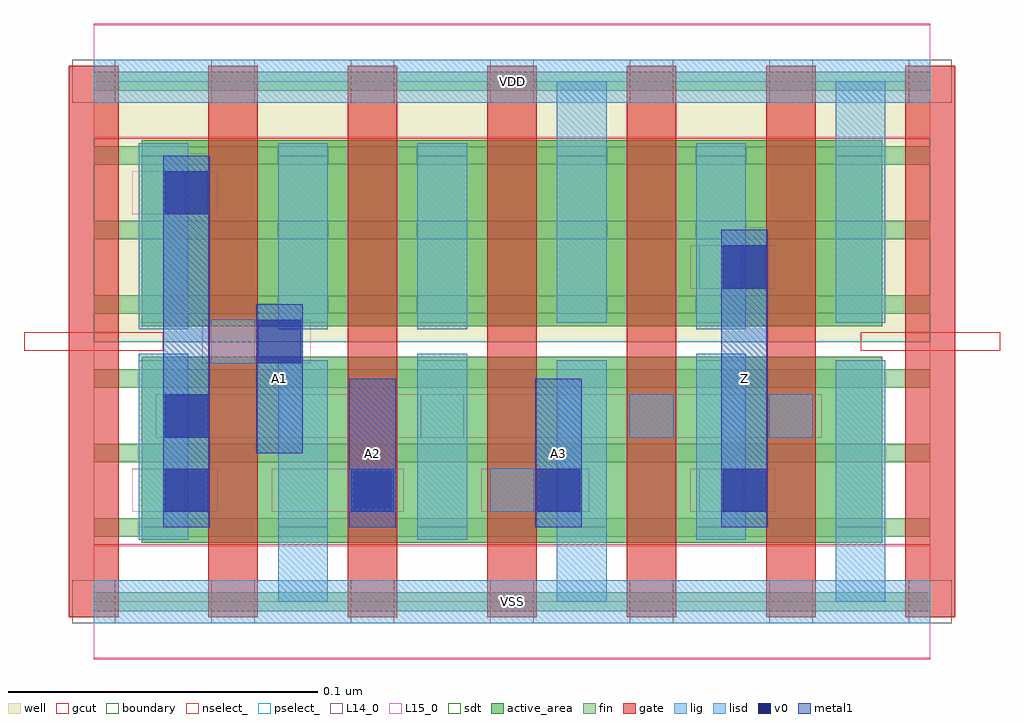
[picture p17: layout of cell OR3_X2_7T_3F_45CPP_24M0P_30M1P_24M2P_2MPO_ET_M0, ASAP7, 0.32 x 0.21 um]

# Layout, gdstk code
import gdstk
lib = gdstk.Library(unit=1e-6, precision=2.5e-10)
def R(c, l, rs):  # rectangles x0, y0, x1, y1
    for r in rs: c.add(gdstk.rectangle(r[:2], r[2:], *l))
def A(c, l, x, y, w, h, nx, ny, dx, dy):  # array of equal rectangles
    R(c, l, [(x+i*dx, y+j*dy, x+i*dx+w, y+j*dy+h) for i in range(nx) for j in range(ny)])
well = (1, 0)
fin = (2, 0)
gate = (7, 0)
gcut = (10, 0)
active_area = (11, 0)
nselect_ = (12, 0)
pselect_ = (13, 0)
L14_0 = (14, 0)
L15_0 = (15, 0)
lig = (16, 0)
lisd = (17, 0)
v0 = (18, 0)
metal1 = (19, 0)
sdt = (88, 0)
boundary = (100, 0)

or3_x2_7t_3f_45cpp_24m0p = lib.new_cell('OR3_X2_7T_3F_45CPP_24M0P_30M1P_24M2P_2MPO_ET_M0')
R(or3_x2_7t_3f_45cpp_24m0p, well, [(0,0.084,0.27,0.168)])
A(or3_x2_7t_3f_45cpp_24m0p, fin, 0, -0.003, 0.27, 0.006, 1, 8, 0, 0.024)
A(or3_x2_7t_3f_45cpp_24m0p, gate, -0.008, -0.005, 0.016, 0.178, 7, 1, 0.045, 0)
R(or3_x2_7t_3f_45cpp_24m0p, gcut, [(0,-0.0185,0.27,0.0185), (-0.0225,0.081,0.0225,0.087), (0.2475,0.081,0.2925,0.087), (0,0.1495,0.27,0.1865)])
A(or3_x2_7t_3f_45cpp_24m0p, active_area, 0.0155, 0.019, 0.059, 0.06, 3, 2, 0.045, 0.07)
R(or3_x2_7t_3f_45cpp_24m0p, active_area, [(0.1505,0.019,0.2545,0.079), (0.1505,0.089,0.2545,0.149)])
R(or3_x2_7t_3f_45cpp_24m0p, nselect_, [(0,0,0.27,0.084)])
R(or3_x2_7t_3f_45cpp_24m0p, pselect_, [(0,0.084,0.27,0.168)])
A(or3_x2_7t_3f_45cpp_24m0p, L14_0, -0.007, -0.007, 0.014, 0.014, 7, 2, 0.045, 0.168)
R(or3_x2_7t_3f_45cpp_24m0p, L14_0, [(0.0155,0.029,0.0295,0.043), (0.083,0.029,0.097,0.043), (0.128,0.029,0.142,0.043), (0.1955,0.029,0.2095,0.043), (0.1055,0.053,0.1195,0.067), (0.173,0.053,0.187,0.067), (0.218,0.053,0.232,0.067), (0.038,0.077,0.052,0.091), (0.1955,0.101,0.2095,0.115), (0.0155,0.125,0.0295,0.139)])
R(or3_x2_7t_3f_45cpp_24m0p, L15_0, [(0,-0.018,0.27,0.018), (0.0125,0.029,0.04,0.043), (0.0575,0.029,0.1,0.043), (0.125,0.029,0.16,0.043), (0.1925,0.029,0.22,0.043), (0.02,0.053,0.235,0.067), (0.035,0.077,0.07,0.091), (0.1925,0.101,0.22,0.115), (0.0125,0.125,0.04,0.139), (0,0.15,0.27,0.186)])
R(or3_x2_7t_3f_45cpp_24m0p, lig, [(0,-0.007,0.27,0.007), (0.083,0.029,0.097,0.043), (0.128,0.029,0.142,0.043), (0.173,0.053,0.187,0.067), (0.218,0.053,0.232,0.067), (0.038,0.077,0.052,0.091), (0,0.161,0.27,0.175)])
A(or3_x2_7t_3f_45cpp_24m0p, lisd, 0.0595, 0, 0.016, 0.078, 3, 1, 0.09, 0)
A(or3_x2_7t_3f_45cpp_24m0p, lisd, 0.0145, 0.02, 0.016, 0.06, 3, 1, 0.09, 0)
A(or3_x2_7t_3f_45cpp_24m0p, lisd, 0.0145, 0.088, 0.016, 0.06, 3, 1, 0.045, 0)
R(or3_x2_7t_3f_45cpp_24m0p, lisd, [(0.1945,0.088,0.2105,0.148), (0.1495,0.09,0.1655,0.168), (0.2395,0.09,0.2555,0.168)])
A(or3_x2_7t_3f_45cpp_24m0p, v0, 0.023, 0.029, 0.014, 0.014, 4, 1, 0.06, 0)
R(or3_x2_7t_3f_45cpp_24m0p, v0, [(0.023,0.053,0.037,0.067), (0.053,0.077,0.067,0.091), (0.203,0.101,0.217,0.115), (0.023,0.125,0.037,0.139)])
R(or3_x2_7t_3f_45cpp_24m0p, metal1, [(0.0225,0.024,0.0375,0.144), (0.0825,0.024,0.0975,0.072), (0.1425,0.024,0.1575,0.072), (0.2025,0.024,0.2175,0.12), (0.0525,0.048,0.0675,0.096)])
A(or3_x2_7t_3f_45cpp_24m0p, sdt, 0.0145, 0.024, 0.016, 0.054, 6, 2, 0.045, 0.066)
R(or3_x2_7t_3f_45cpp_24m0p, boundary, [(0,0,0.27,0.168)])
or3_x2_7t_3f_45cpp_24m0p.add(gdstk.Label('Z', (0.21,0.072), layer=19, texttype=251))
or3_x2_7t_3f_45cpp_24m0p.add(gdstk.Label('A3', (0.15,0.048), layer=19, texttype=251))
or3_x2_7t_3f_45cpp_24m0p.add(gdstk.Label('A1', (0.06,0.072), layer=19, texttype=251))
or3_x2_7t_3f_45cpp_24m0p.add(gdstk.Label('A2', (0.09,0.048), layer=19, texttype=251))
or3_x2_7t_3f_45cpp_24m0p.add(gdstk.Label('VDD', (0.135,0.168), layer=15, texttype=251))
or3_x2_7t_3f_45cpp_24m0p.add(gdstk.Label('VSS', (0.135,0), layer=15, texttype=251))
or3_x2_7t_3f_45cpp_24m0p.add(gdstk.Label('VDD', (0.135,0.168), layer=1, texttype=251))
or3_x2_7t_3f_45cpp_24m0p.add(gdstk.Label('VSS', (0.135,0), layer=3, texttype=251))

lib.write_gds('OR3_X2_7T_3F_45CPP_24M0P_30M1P_24M2P_2MPO_ET_M0.gds')
